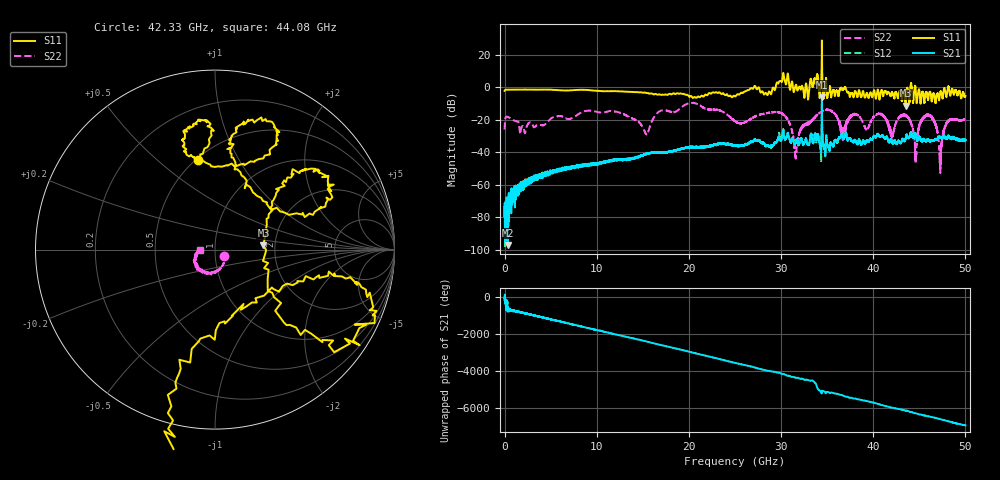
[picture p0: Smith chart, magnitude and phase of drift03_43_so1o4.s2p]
!Created with skrf (http://scikit-rf.org).
# Hz S RI R 50.0
!freq ReS11 ImS11 ReS21 ImS21 ReS12 ImS12 ReS22 ImS22
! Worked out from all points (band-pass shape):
!   10000 points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, 5.3 MHz to 50 GHz, reference 50 ohm
!   highest |S21| = -6.21 dB at 34.43 GHz (marker M1); lowest = -96.9 dB at 330.3 MHz (marker M2)
!   |S21| within 3 dB of the highest: 34.42758 GHz to 34.43511 GHz (7.525 MHz wide, 0.0219 % of centre)
!   lowest |S11| = -11.3 dB at 43.52 GHz (marker M3), VSWR 1.74, Z = 86.8 + j4.49 ohm
!   |S11| at or under -10 dB: 43.49174 GHz to 43.54453 GHz (52.79 MHz wide, 0.121 % of centre)
!   |S22| runs from -52.7 to -9.4 dB; largest |S21 - S12| = 0.15
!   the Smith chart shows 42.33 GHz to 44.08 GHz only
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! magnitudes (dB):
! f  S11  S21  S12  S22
! 5.3 MHz  -2.1  -71.6  -79.8  -25.9
! 330.3 MHz  -1.4  -96.9  -74.2  -18.1
! 2.185 GHz  -1.3  -59.3  -60.0  -28.0
! 8.34 GHz  -1.5  -47.7  -48.5  -15.3
! 15.39 GHz  -3.4  -41.1  -40.8  -28.8
! 16.67 GHz  -4.4  -40.2  -40.0  -15.3
! 20.45 GHz  -6.5  -36.4  -36.7  -9.5
! 25.01 GHz  -5.5  -36.1  -35.8  -20.7
! 29.95 GHz  3.9  -32.7  -32.3  -15.6
! 31.6 GHz  1.6  -33.6  -34.0  -43.5
! 33.34 GHz  2.6  -30.1  -30.5  -20.3
! 34.43 GHz  28.9  -6.2  -8.0  -14.5
! 36.69 GHz  -1.3  -29.8  -29.9  -27.6
! 37.94 GHz  -4.5  -32.9  -32.9  -16.7
! 41.67 GHz  -3.0  -33.4  -33.4  -22.9
! 43.52 GHz  -11.3  -31.6  -31.5  -17.7
! 44.61 GHz  -1.6  -29.2  -29.0  -41.8
! 45.27 GHz  -3.8  -33.1  -33.3  -19.9
! 46.28 GHz  -5.8  -32.6  -32.7  -17.4
! 47.29 GHz  -3.1  -31.0  -30.6  -52.7
! 48.12 GHz  0.3  -29.6  -30.2  -21.1
! 50 GHz  -5.2  -32.3  -32.7  -19.7
